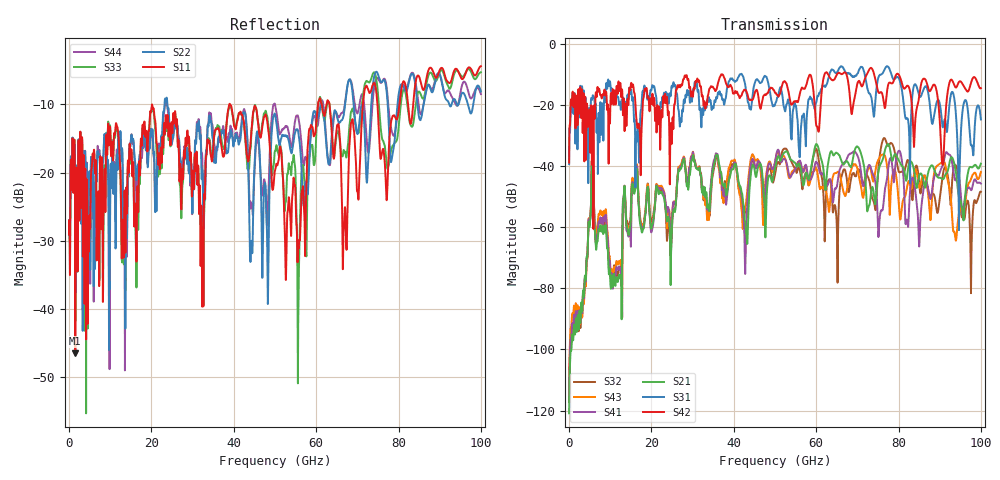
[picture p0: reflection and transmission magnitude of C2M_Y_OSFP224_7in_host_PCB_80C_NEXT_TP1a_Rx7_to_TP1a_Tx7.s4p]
# GHz S RI R 45
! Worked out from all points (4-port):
!   4000 points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, 25 MHz to 100 GHz, reference 45 ohm
!   strongest paths, dB at 25 MHz, 25.02 GHz, 50.02 GHz, 75.03 GHz, 100 GHz:
!     S42: -38.9, -28.8, -16.1, -15.6, -14.6
!     S31: -39.4, -14.0, -19.9, -11.5, -24.8
!     S21: -120.9, -59.0, -40.8, -42.7, -39.3
!     S41: -117.0, -56.8, -38.6, -60.9, -45.8
!     S43: -113.8, -56.6, -38.7, -38.3, -42.0
!     S32: -117.2, -59.2, -42.7, -42.4, -48.5
!   lowest |S11| = -46.5 dB at 1.525 GHz (marker M1), VSWR 1.01, Z = 44.8 - j0.391 ohm
!   |S11| at or under -10 dB: start of sweep to 38.91 GHz; 39.09 GHz to 60.46 GHz (21.36 GHz wide, 42.9 % of centre); 63.23 GHz to 71.34 GHz (8.111 GHz wide, 12.1 % of centre)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
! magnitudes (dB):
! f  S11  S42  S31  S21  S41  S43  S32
! 25 MHz  -29.1  -38.9  -39.4  -120.9  -117.0  -113.8  -117.2
! 1.525 GHz  -46.5  -25.1  -28.7  -93.9  -90.5  -87.2  -91.1
! 5.6 GHz  -18.6  -28.3  -18.4  -38.9  -38.8  -38.5  -38.7
! 11.55 GHz  -13.0  -14.0  -16.8  -76.4  -73.1  -71.1  -74.5
! 27.65 GHz  -20.9  -12.0  -22.3  -38.5  -38.5  -37.8  -37.7
! 42.73 GHz  -14.3  -15.2  -13.1  -58.1  -73.5  -53.5  -54.0
! 100 GHz  -4.4  -14.6  -24.8  -39.3  -45.8  -42.0  -48.5
